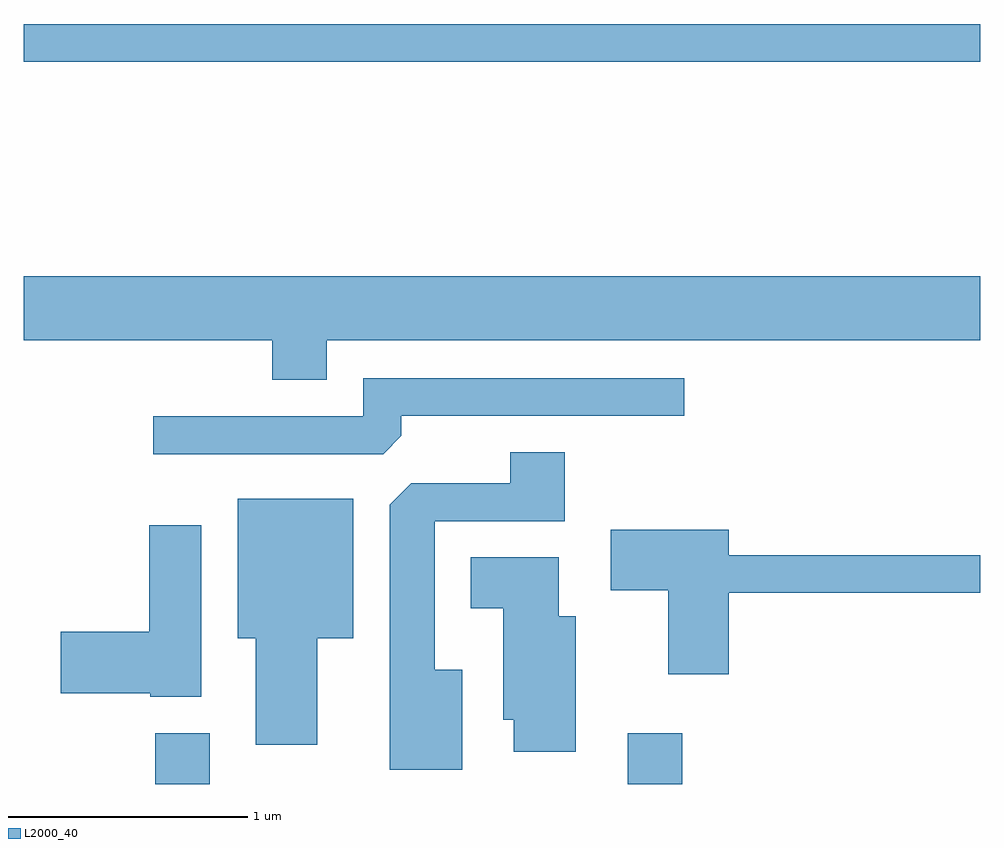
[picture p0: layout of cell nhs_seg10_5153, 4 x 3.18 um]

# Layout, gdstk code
import gdstk
lib = gdstk.Library(unit=1e-6, precision=1e-09)
def R(c, l, rs):  # rectangles x0, y0, x1, y1
    for r in rs: c.add(gdstk.rectangle(r[:2], r[2:], *l))
def P(c, l, *ps):  # polygons
    for p in ps: c.add(gdstk.Polygon(p, *l))
L2000_40 = (2000, 40)

nhs_seg10_5153 = lib.new_cell('nhs_seg10_5153')
R(nhs_seg10_5153, L2000_40, [(338.161,2096.522,338.389,2096.734), (340.136,2096.522,340.364,2096.734), (337.611,2099.541,341.611,2099.699)])
P(nhs_seg10_5153, L2000_40, [(338.879,2098.376),(341.611,2098.376),(341.611,2098.644),(337.611,2098.644),(337.611,2098.376),(338.651,2098.376),(338.651,2098.211),(338.879,2098.211)],
  [(339.189,2097.977),(339.189,2098.061),(340.373,2098.061),(340.373,2098.219),(339.031,2098.219),(339.031,2098.059),(338.153,2098.059),(338.153,2097.901),(339.114,2097.901)],
  [(339.444,2096.999),(339.329,2096.999),(339.329,2097.621),(339.874,2097.621),(339.874,2097.909),(339.646,2097.909),(339.646,2097.779),(339.232,2097.779),(339.141,2097.689),(339.141,2096.581),(339.444,2096.581)],
  [(338.839,2097.131),(338.989,2097.131),(338.989,2097.714),(338.506,2097.714),(338.506,2097.131),(338.581,2097.131),(338.581,2096.686),(338.839,2096.686)],
  [(338.354,2097.604),(338.136,2097.604),(338.136,2097.159),(337.766,2097.159),(337.766,2096.901),(338.14,2096.901),(338.14,2096.886),(338.354,2096.886)],
  [(340.559,2097.321),(341.611,2097.321),(341.611,2097.479),(340.559,2097.479),(340.559,2097.584),(340.066,2097.584),(340.066,2097.331),(340.306,2097.331),(340.306,2096.981),(340.559,2096.981)],
  [(339.919,2097.224),(339.849,2097.224),(339.849,2097.469),(339.481,2097.469),(339.481,2097.256),(339.616,2097.256),(339.616,2096.791),(339.661,2096.791),(339.661,2096.656),(339.919,2096.656)])

lib.write_gds('nhs_seg10_5153.gds')
